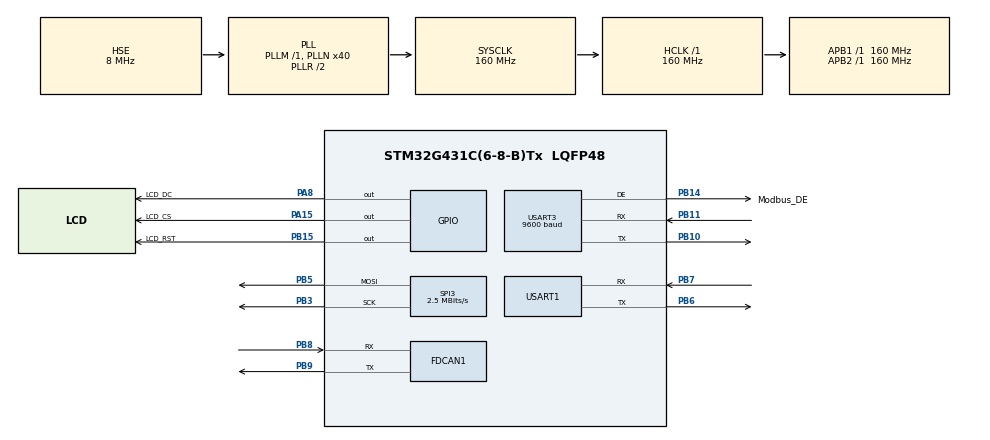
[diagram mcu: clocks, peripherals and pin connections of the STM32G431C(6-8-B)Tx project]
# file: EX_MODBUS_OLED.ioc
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Dma.Request0=USART3_RX
Dma.USART3_RX.0.Direction=DMA_PERIPH_TO_MEMORY
Dma.USART3_RX.0.EventEnable=DISABLE
Dma.USART3_RX.0.Instance=DMA1_Channel1
Dma.USART3_RX.0.MemDataAlignment=DMA_MDATAALIGN_BYTE
Dma.USART3_RX.0.MemInc=DMA_MINC_ENABLE
Dma.USART3_RX.0.Mode=DMA_NORMAL
Dma.USART3_RX.0.PeriphDataAlignment=DMA_PDATAALIGN_BYTE
Dma.USART3_RX.0.PeriphInc=DMA_PINC_DISABLE
Dma.USART3_RX.0.Polarity=HAL_DMAMUX_REQ_GEN_RISING
Dma.USART3_RX.0.Priority=DMA_PRIORITY_LOW
Dma.USART3_RX.0.RequestNumber=1
Dma.USART3_RX.0.SignalID=NONE
Dma.USART3_RX.0.SyncEnable=DISABLE
Dma.USART3_RX.0.SyncPolarity=HAL_DMAMUX_SYNC_NO_EVENT
Dma.USART3_RX.0.SyncRequestNumber=1
Dma.USART3_RX.0.SyncSignalID=NONE
FDCAN1.CalculateBaudRateNominal=500000
FDCAN1.CalculateTimeBitNominal=2000
FDCAN1.CalculateTimeQuantumNominal=100.0
FDCAN1.ClockDivider=FDCAN_CLOCK_DIV2
FDCAN1.FrameFormat=FDCAN_FRAME_FD_BRS
FDCAN1.Mode=FDCAN_MODE_NORMAL
FDCAN1.NominalPrescaler=8
FDCAN1.NominalTimeSeg1=13
FDCAN1.NominalTimeSeg2=6
FDCAN1.StdFiltersNbr=1
Mcu.Family=STM32G4
Mcu.Name=STM32G431C(6-8-B)Tx
Mcu.Package=LQFP48
NVIC.DMA1_Channel1_IRQn=true\:0\:0\:false\:false\:true\:false\:true\:true
NVIC.FDCAN1_IT0_IRQn=true\:0\:0\:false\:false\:true\:true\:true\:true
NVIC.FDCAN1_IT1_IRQn=true\:0\:0\:false\:false\:true\:true\:true\:true
NVIC.PriorityGroup=NVIC_PRIORITYGROUP_4
NVIC.USART1_IRQn=true\:0\:0\:false\:false\:true\:true\:true\:true
NVIC.USART3_IRQn=true\:0\:0\:false\:false\:true\:true\:true\:true
PA15.GPIO_Label=LCD_CS
PA15.Signal=GPIO_Output
PA8.GPIO_Label=LCD_DC
PA8.Signal=GPIO_Output
PB10.Mode=Asynchronous
PB10.Signal=USART3_TX
PB11.Mode=Asynchronous
PB11.Signal=USART3_RX
PB14.GPIO_Label=Modbus_DE
PB14.Mode=Hardware Flow Control (RS485)
PB14.Signal=USART3_DE
PB15.GPIO_Label=LCD_RST
PB15.Signal=GPIO_Output
PB3.Mode=TX_Only_Simplex_Unidirect_Master
PB3.Signal=SPI3_SCK
PB5.Mode=TX_Only_Simplex_Unidirect_Master
PB5.Signal=SPI3_MOSI
PB6.Mode=Asynchronous
PB6.Signal=USART1_TX
PB7.Mode=Asynchronous
PB7.Signal=USART1_RX
PB8-BOOT0.Mode=FDCAN_Activate
PB8-BOOT0.Signal=FDCAN1_RX
PB9.Mode=FDCAN_Activate
PB9.Signal=FDCAN1_TX
PF0-OSC_IN.Mode=HSE-External-Oscillator
PF0-OSC_IN.Signal=RCC_OSC_IN
PF1-OSC_OUT.Mode=HSE-External-Oscillator
PF1-OSC_OUT.Signal=RCC_OSC_OUT
ProjectManager.HeapSize=0x200
ProjectManager.StackSize=0x400
ProjectManager.TargetToolchain=STM32CubeIDE
RCC.ADC12Freq_Value=160000000
RCC.AHBFreq_Value=160000000
RCC.APB1Freq_Value=160000000
RCC.APB1TimFreq_Value=160000000
RCC.APB2Freq_Value=160000000
RCC.APB2TimFreq_Value=160000000
RCC.CK48CLockSelection=RCC_USBCLKSOURCE_HSI48
RCC.CortexFreq_Value=160000000
RCC.EXTERNAL_CLOCK_VALUE=12288000
RCC.HCLKFreq_Value=160000000
RCC.HSE_VALUE=8000000
RCC.HSI48_VALUE=48000000
RCC.HSI_VALUE=16000000
RCC.LSE_VALUE=32768
RCC.PLLN=40
RCC.PLLSourceVirtual=RCC_PLLSOURCE_HSE
RCC.SYSCLKFreq_VALUE=160000000
RCC.SYSCLKSource=RCC_SYSCLKSOURCE_PLLCLK
RCC.USBFreq_Value=48000000
RCC.VCOOutputFreq_Value=320000000
SPI3.BaudRatePrescaler=SPI_BAUDRATEPRESCALER_64
SPI3.CalculateBaudRate=2.5 MBits/s
SPI3.DataSize=SPI_DATASIZE_8BIT
SPI3.Direction=SPI_DIRECTION_2LINES
SPI3.Mode=SPI_MODE_MASTER
SPI3.VirtualType=VM_MASTER
USART1.VirtualMode-Asynchronous=VM_ASYNC
USART3.BaudRate=9600
USART3.VirtualMode-Asynchronous=VM_ASYNC
USART3.VirtualMode-Hardware\ Flow\ Control\ (RS485)=VM_ASYNC
VP_SYS_VS_DBSignals.Mode=DisableDeadBatterySignals
board=custom

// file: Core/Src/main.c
/* USER CODE BEGIN Header */
/**
 ******************************************************************************
 * @file           : main.c
 * @brief          : Main program body - Modbus RTU to FDCAN Bridge
 ******************************************************************************
 * @attention
 *
 * Copyright (c) 2025 STMicroelectronics.
 * All rights reserved.
 *
 * This software is licensed under terms that can be found in the LICENSE file
 * in the root directory of this software component.
 * If no LICENSE file comes with this software, it is provided AS-IS.
 *
 ******************************************************************************
 */

/*
 * Modbus RTU 를 사용하는 풍량센서 측정값을 실시간으로 받고,
 * OLED에 출력하는 예제입니다.
 */

/* USER CODE END Header */
#include "main.h"
#include "dma.h"
#include "fdcan.h"
#include "spi.h"
#include "usart.h"
#include "gpio.h"

/* USER CODE BEGIN Includes */
#include "oled.h"
#include "font.h"
#include <stdio.h>
#include <string.h>
/* USER CODE END Includes */

/* USER CODE BEGIN PD */

/* Modbus RTU 프로토콜 정의 */
#define MODBUS_SLAVE_ADDR 0x01     // 풍량센서 기본 주소
#define MODBUS_FUNC_READ_HOLD 0x03 // Modbus 기능코드 (0x03은 레지스터 읽기)
/* 풍량센서 레지스터 주소 */
#define WIND_SPEED_REG 0x0000 // 풍속 레지스터 (데이터 시트 참조)
// 위 세 값을 기반으로 센서에게 데이터 요청!!

/* 프레임 크기 정의 */
#define MODBUS_REQUEST_SIZE 8   // 모드버스 요청 프레임 크기
#define MODBUS_RESPONSE_MAX 256 // 모드버스 응답 최대 크기

/* USER CODE END PD */

/* USER CODE BEGIN PV */

/* Modbus RTU 요청 프레임 구조체 */
typedef struct
{
    uint8_t slave_addr;                     // 슬레이브 주소
    uint8_t function_code;                  // 기능 코드
    uint16_t start_addr;                    // 시작 레지스터 주소 (빅엔디안)
    uint16_t register_count;                // 레지스터 개수 (빅엔디안) ( 풍속값만 받아올것이므로 사실상 1 )
    uint16_t crc;                           // CRC16 (리틀엔디안) (빅엔디안도 상관없지만, 공식적으로는 이렇게 쓰고있습니다.)
} __attribute__((packed)) Modbus_Request_t; // 패딩 줄이기

/* Modbus RTU 응답 프레임 구조체 */
typedef struct
{
    uint8_t slave_addr;    // 슬레이브 주소
    uint8_t function_code; // 기능 코드
    uint8_t byte_count;    // 데이터 바이트 수
    uint8_t data[64];      // 레지스터 데이터
    uint16_t crc;          // CRC16 (리틀엔디안)
} __attribute__((packed)) Modbus_Response_t;

// 센서 데이터 저장
typedef struct
{
    float wind_speed;   // 풍속 (m/s)
    uint32_t timestamp; // 타임스탬프
    uint8_t valid;      // 데이터 유효성
} Wind_Sensor_Data_t;   // 센서에서 읽어온 데이터를 저장하는 구조체입니다.

Wind_Sensor_Data_t sensor_data = {0}; // 센서 데이터를 저장

// Modbus RTU 관련 변수
uint8_t modbus_rx_buffer[MODBUS_RESPONSE_MAX]; // UART로 받은 Modbus 응답을 저장하는 버퍼
static uint16_t modbus_rx_index = 0;           // 현재 버퍼에 저장된 바이트 수
static uint8_t modbus_frame_ready = 0;         // 완전한 프레임을 받았는지 표시
static uint8_t rx_byte;                        // UART 인터럽트로 받은 1바이트

// OLED 표시용
char buf[32];

volatile uint32_t last_rx_time = 0; // 마지막 수신 시간 (타임아웃 체크용)

/* USER CODE END PV */

void SystemClock_Config(void);
/* USER CODE BEGIN PFP */

HAL_StatusTypeDef modbusRequset(uint8_t slave_addr, uint8_t func_code, uint16_t start_addr, uint16_t reg_count);
HAL_StatusTypeDef modBusResponse(uint8_t *response_data, uint16_t length);
static uint16_t calcCRC16(uint8_t *data, uint16_t length);
void requestSensorData(void);
void responseSensorData(Modbus_Response_t *response);

/* USER CODE END PFP */

/* USER CODE BEGIN 0 */

// printf 함수 리디렉션
int __io_putchar(int ch)
{
    (void)HAL_UART_Transmit(&huart1, (uint8_t *)&ch, 1, 100);
    return ch;
}

/**
 * @brief Modbus RTU 관련
 */

// Modbus RTU CRC16 계산 함수
static uint16_t calcCRC16(uint8_t *data, uint16_t length)
{
    uint16_t crc = 0xFFFF;                // 1111 1111 1111 1111
    for (uint16_t i = 0; i < length; i++) // 들어온 모든 데이터에 대해..
    {
        crc ^= data[i];                       // 0xFFFF 와 XOR 연산
        for (uint8_t bit = 0; bit < 8; bit++) // 모든 비트에 대해 ..
        {
            if (crc & 0x0001) // LSB가 1이라면..
            {
                crc = (crc >> 1) ^ 0xA001; // 오른쪽 쉬프트 한칸 -> 0xA001과 XOR연산
            }
            else
            {
                crc = crc >> 1; // LSB가 0이라면... 쉬프트만...
            }
        }
    }
    return crc;
}

// Modbus RTU 요청 전송
HAL_StatusTypeDef modbusRequest(uint8_t slave_addr, uint8_t func_code, uint16_t start_addr, uint16_t reg_count)
{
    uint8_t request_frame[MODBUS_REQUEST_SIZE];
    uint16_t crc;

    // 프레임 구성
    request_frame[0] = slave_addr;
    request_frame[1] = func_code;
    request_frame[2] = (start_addr >> 8) & 0xFF; // 시작 주소 상위 바이트
    request_frame[3] = start_addr & 0xFF;        // 시작 주소 하위 바이트
    request_frame[4] = (reg_count >> 8) & 0xFF;  // 레지스터 개수 상위 바이트
    request_frame[5] = reg_count & 0xFF;         // 레지스터 개수 하위 바이트

    // CRC 계산 (첫 6바이트에 대해)
    crc = calcCRC16(request_frame, 6);

    request_frame[6] = crc & 0xFF;        // CRC 하위 바이트 (리틀엔디안)
    request_frame[7] = (crc >> 8) & 0xFF; // CRC 상위 바이트

    /**
     * @brief UART3(Modbus)로 데이터 송신
     *  - 반이중 통신(모드버스 RTU) 특성상 송신 시 DE 핀을 HIGH로 (송신모드) 설정합니다.
     *  - 모든 데이터가 전송 완료(TC 플래그 set)될 때까지 대기하여, 마지막 바이트까지 온전히 라인에 출력됨을 보장합니다.
     *  - TC 확인 후 DE 핀을 LOW로 변경해 수신모드로 전환합니다.
     *  - (이 과정이 없으면 마지막 바이트 송신 전에 수신모드로 바뀌어 모드버스 통신 오류가 발생할 수 있음)
     */

    HAL_GPIO_WritePin(Modbus_DE_GPIO_Port, Modbus_DE_Pin, GPIO_PIN_SET);

    // UART3(RS485)로 전송
    HAL_StatusTypeDef status = HAL_UART_Transmit(&huart3, request_frame, MODBUS_REQUEST_SIZE, 1000);

    while (__HAL_UART_GET_FLAG(&huart3, UART_FLAG_TC) == RESET)
        ; // 전송 완료 기다림
    HAL_GPIO_WritePin(Modbus_DE_GPIO_Port, Modbus_DE_Pin, GPIO_PIN_RESET);

    if (status != HAL_OK)
    {
        printf("Modbus Request Failed: Status=%d\r\n", status);
    }
    return status;
}

// Modbus RTU 응답 처리
HAL_StatusTypeDef modbusResponse(uint8_t *response_data, uint16_t length)
{
    // CRC 계산
    uint16_t calc_crc = calcCRC16(response_data, length - 2);

    // Modbus RTU는 리틀엔디안 표준 사용
    uint16_t recv_crc = response_data[length - 2] | (response_data[length - 1] << 8);

    if (calc_crc != recv_crc)
    {
        printf("[ERROR] CRC mismatch: calc=0x%04X, recv=0x%04X\r\n", calc_crc, recv_crc);
        return HAL_ERROR;
    }

    // 슬레이브 주소 확인
    Modbus_Response_t *response = (Modbus_Response_t *)response_data;
    if (response->slave_addr != MODBUS_SLAVE_ADDR)
    {
        return HAL_ERROR;
    }

    parseSensorData(response);
    return HAL_OK;
}

// 풍량센서 응답 데이터 파싱
void parseSensorData(Modbus_Response_t *response)
{
    if (response->function_code == MODBUS_FUNC_READ_HOLD && response->byte_count >= 2)
    {
        // 풍속 데이터 (첫 번째 레지스터)
        uint16_t wind_raw = (response->data[0] << 8) | response->data[1];
        sensor_data.wind_speed = wind_raw * 0.1f; // 0.1 m/s 단위
        sensor_data.timestamp = HAL_GetTick();
        sensor_data.valid = 1;
        printf("Wind Speed: %.1f m/s\r\n", sensor_data.wind_speed);
    }
}

/* USER CODE END 0 */

int main(void)
{

    /* MCU Configuration--------------------------------------------------------*/

    /* Reset of all peripherals, Initializes the Flash interface and the Systick. */
    HAL_Init();

    /* Configure the system clock */
    SystemClock_Config();

    /* Initialize all configured peripherals */
    MX_GPIO_Init();
    MX_DMA_Init();
    MX_FDCAN1_Init();
    MX_SPI3_Init();
    MX_USART3_UART_Init();
    MX_USART1_UART_Init();
    /* USER CODE BEGIN 2 */

    // Modbus RTU 수신 시작2
    HAL_UARTEx_ReceiveToIdle_DMA(&huart3, modbus_rx_buffer, sizeof(modbus_rx_buffer));
    OLED_init();
    OLED_fill(0);
    oled_drawString(0, 0, "Modbus Monitor", &font_07x10, 15); // ✨ 제목 변경
    oled_drawString(0, 20, "Wind Speed:", &font_07x10, 15);   // CAN 수신용
    printf("Modbus RTU Bridge Started!\r\n");
    /* USER CODE END 2 */

    /* Infinite loop */
    /* USER CODE BEGIN WHILE */

    uint32_t last_request_time = 0;

    while (1)
    {

        // 100ms마다 센서 데이터 요청
        if (HAL_GetTick() - last_request_time >= 100)
        {
            modbus_rx_index = 0;
            modbus_frame_ready = 0;

            modbusRequest(MODBUS_SLAVE_ADDR, MODBUS_FUNC_READ_HOLD, WIND_SPEED_REG, 2);

            last_request_time = HAL_GetTick();
            last_rx_time = HAL_GetTick();
        }

        // Modbus 응답 처리
        if (modbus_frame_ready)
        {

            // 최소 길이 체크 (5바이트 이상, CRC를 제외한 나머지 프레임 구성요소가 5바이트)
            if (modbus_rx_index >= 5)
            {
                modbusResponse(modbus_rx_buffer, modbus_rx_index);
            }
            else
            {
                printf("[ERROR] Frame too short: %d bytes\r\n", modbus_rx_index);
            }
            // 버퍼 리셋
            modbus_rx_index = 0;
            modbus_frame_ready = 0;
            memset(modbus_rx_buffer, 0, sizeof(modbus_rx_buffer));
        }

        // OLED 업데이트
        if (sensor_data.valid)
        {
            snprintf(buf, sizeof(buf), "%.1f m/s", sensor_data.wind_speed);
            oled_drawString(80, 20, buf, &font_07x10, 15);
        }
        else
        {
            oled_drawString(80, 20, "WAIT...", &font_07x10, 15); // 유효한 센서값이 들어오지 않을때 출력
        }
        /* USER CODE END WHILE */

    }
}

void SystemClock_Config(void)
{
    RCC_OscInitTypeDef RCC_OscInitStruct = {0};
    RCC_ClkInitTypeDef RCC_ClkInitStruct = {0};

    /** Configure the main internal regulator output voltage
     */
    HAL_PWREx_ControlVoltageScaling(PWR_REGULATOR_VOLTAGE_SCALE1_BOOST);

    /** Initializes the RCC Oscillators according to the specified parameters
     * in the RCC_OscInitTypeDef structure.
     */
    RCC_OscInitStruct.OscillatorType = RCC_OSCILLATORTYPE_HSE;
    RCC_OscInitStruct.HSEState = RCC_HSE_ON;
    RCC_OscInitStruct.PLL.PLLState = RCC_PLL_ON;
    RCC_OscInitStruct.PLL.PLLSource = RCC_PLLSOURCE_HSE;
    RCC_OscInitStruct.PLL.PLLM = RCC_PLLM_DIV1;
    RCC_OscInitStruct.PLL.PLLN = 40;
    RCC_OscInitStruct.PLL.PLLP = RCC_PLLP_DIV2;
    RCC_OscInitStruct.PLL.PLLQ = RCC_PLLQ_DIV2;
    RCC_OscInitStruct.PLL.PLLR = RCC_PLLR_DIV2;
    if (HAL_RCC_OscConfig(&RCC_OscInitStruct) != HAL_OK)
    {
        Error_Handler();
    }

    /** Initializes the CPU, AHB and APB buses clocks
     */
    RCC_ClkInitStruct.ClockType = RCC_CLOCKTYPE_HCLK | RCC_CLOCKTYPE_SYSCLK | RCC_CLOCKTYPE_PCLK1 | RCC_CLOCKTYPE_PCLK2;
    RCC_ClkInitStruct.SYSCLKSource = RCC_SYSCLKSOURCE_PLLCLK;
    RCC_ClkInitStruct.AHBCLKDivider = RCC_SYSCLK_DIV1;
    RCC_ClkInitStruct.APB1CLKDivider = RCC_HCLK_DIV1;
    RCC_ClkInitStruct.APB2CLKDivider = RCC_HCLK_DIV1;

    if (HAL_RCC_ClockConfig(&RCC_ClkInitStruct, FLASH_LATENCY_4) != HAL_OK)
    {
        Error_Handler();
    }
}

/* USER CODE BEGIN 4 */

// UART Idle 수신 콜백 ( UART3 == 센서 )
void HAL_UARTEx_RxEventCallback(UART_HandleTypeDef *huart, uint16_t Size)
{
    if (huart->Instance == USART3)
    {
        modbus_rx_index = Size; // 수신길이
        modbus_frame_ready = 1;
        // 프레임 처리 이후, 다음 수신 재시작!
        HAL_UARTEx_ReceiveToIdle_IT(&huart3, modbus_rx_buffer, sizeof(modbus_rx_buffer));
    }
}
/* USER CODE END 4 */

void Error_Handler(void)
{
    __disable_irq();
    while (1)
    {
    }
}
